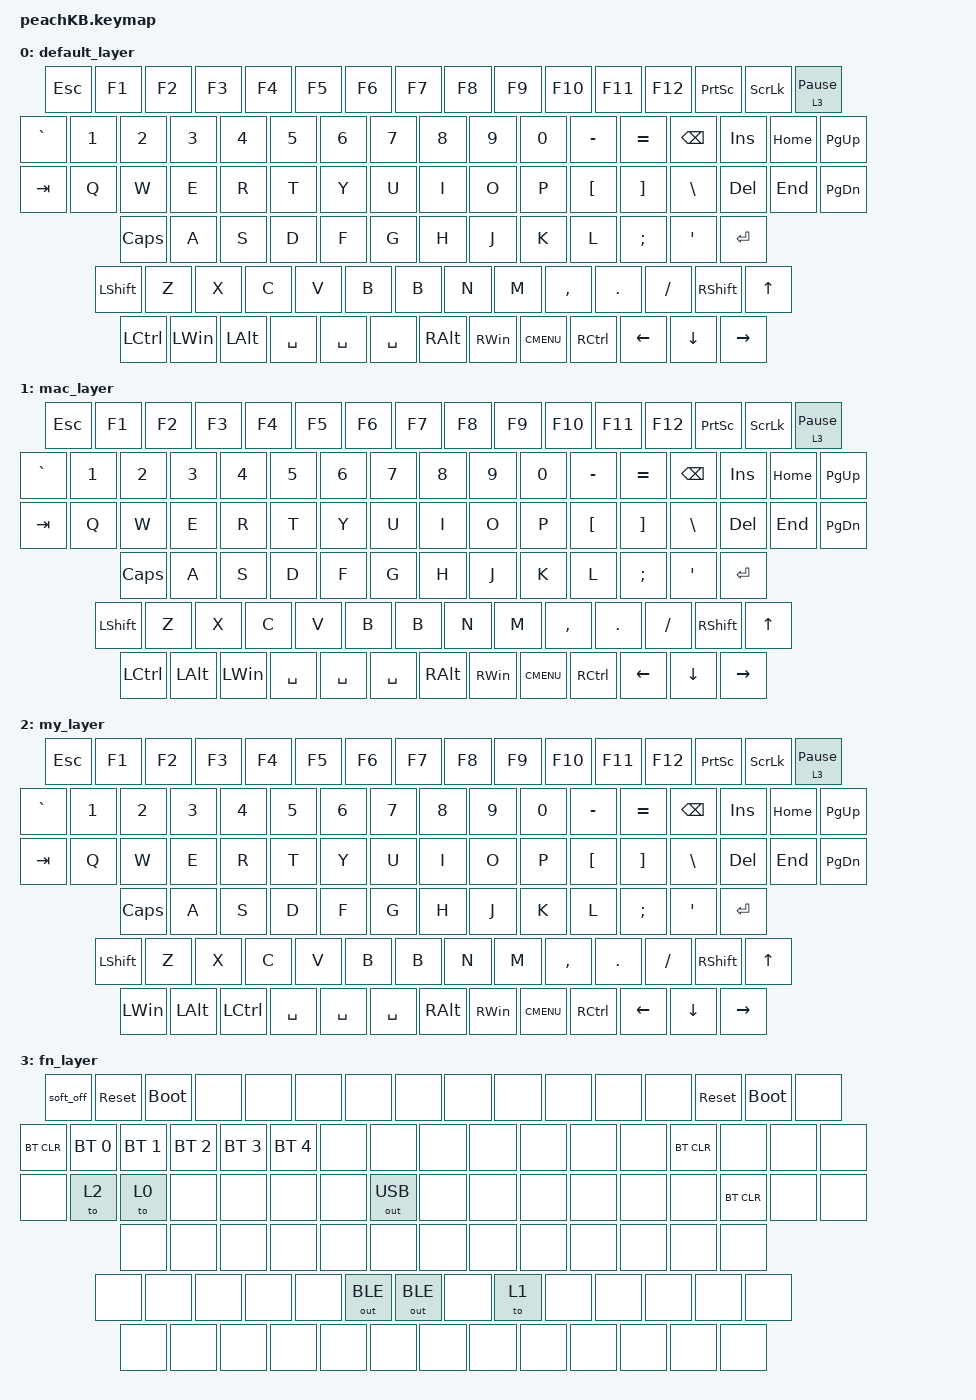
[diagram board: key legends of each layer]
#include <behaviors.dtsi>
#include <dt-bindings/zmk/keys.h>
#include <dt-bindings/zmk/bt.h>
#include <dt-bindings/zmk/outputs.h>

/ {
    keymap {
        compatible = "zmk,keymap";

        default_layer {
            bindings = <
&kp ESC          &kp F1  &kp F2  &kp F3  &kp F4      &kp F5              &kp F6  &kp F7  &kp F8      &kp F9  &kp F10  &kp F11  &kp F12   &kp PSCRN &kp SLCK &lt 3 PAUSE_BREAK

&kp GRAVE &kp N1  &kp N2  &kp N3  &kp N4  &kp N5  &kp N6              &kp N7  &kp N8  &kp N9  &kp N0  &kp MINUS  &kp EQUAL    &kp BSPC   &kp INS   &kp HOME &kp PG_UP
&kp TAB    &kp Q   &kp W   &kp E   &kp R   &kp T               &kp Y    &kp U    &kp I    &kp O    &kp P   &kp LBKT  &kp RBKT &kp BSLH   &kp DEL   &kp END  &kp PG_DN
&kp CAPS     &kp A   &kp S   &kp D   &kp F   &kp G                 &kp H   &kp J   &kp K   &kp L   &kp SEMI    &kp SQT       &kp ENTER
&kp LSHFT      &kp Z   &kp X   &kp C   &kp V   &kp B     &kp B        &kp N   &kp M   &kp COMMA  &kp DOT  &kp SLASH          &kp RSHFT             &kp UP
&kp LCTRL   &kp LWIN   &kp LALT     &kp SPACE          &kp SPACE         &kp SPACE      &kp RALT   &kp RWIN    &kp K_CMENU   &kp RCTRL   &kp LEFT  &kp DOWN &kp RIGHT
            >;
        };

        mac_layer {
            bindings = <
&kp ESC          &kp F1  &kp F2  &kp F3  &kp F4      &kp F5              &kp F6  &kp F7  &kp F8      &kp F9  &kp F10  &kp F11  &kp F12   &kp PSCRN &kp SLCK &lt 3 PAUSE_BREAK

&kp GRAVE &kp N1  &kp N2  &kp N3  &kp N4  &kp N5  &kp N6              &kp N7  &kp N8  &kp N9  &kp N0  &kp MINUS  &kp EQUAL    &kp BSPC   &kp INS   &kp HOME &kp PG_UP
&kp TAB    &kp Q   &kp W   &kp E   &kp R   &kp T               &kp Y    &kp U    &kp I    &kp O    &kp P   &kp LBKT  &kp RBKT &kp BSLH   &kp DEL   &kp END  &kp PG_DN
&kp CAPS     &kp A   &kp S   &kp D   &kp F   &kp G                 &kp H   &kp J   &kp K   &kp L   &kp SEMI    &kp SQT       &kp ENTER
&kp LSHFT      &kp Z   &kp X   &kp C   &kp V   &kp B     &kp B        &kp N   &kp M   &kp COMMA  &kp DOT  &kp SLASH          &kp RSHFT             &kp UP
&kp LCTRL   &kp LALT   &kp LWIN     &kp SPACE          &kp SPACE         &kp SPACE      &kp RALT   &kp RWIN    &kp K_CMENU   &kp RCTRL   &kp LEFT  &kp DOWN &kp RIGHT
            >;
        };

        my_layer {
            bindings = <
&kp ESC          &kp F1  &kp F2  &kp F3  &kp F4      &kp F5              &kp F6  &kp F7  &kp F8      &kp F9  &kp F10  &kp F11  &kp F12   &kp PSCRN &kp SLCK &lt 3 PAUSE_BREAK

&kp GRAVE &kp N1  &kp N2  &kp N3  &kp N4  &kp N5  &kp N6              &kp N7  &kp N8  &kp N9  &kp N0  &kp MINUS  &kp EQUAL    &kp BSPC   &kp INS   &kp HOME &kp PG_UP
&kp TAB    &kp Q   &kp W   &kp E   &kp R   &kp T               &kp Y    &kp U    &kp I    &kp O    &kp P   &kp LBKT  &kp RBKT &kp BSLH   &kp DEL   &kp END  &kp PG_DN
&kp CAPS     &kp A   &kp S   &kp D   &kp F   &kp G                 &kp H   &kp J   &kp K   &kp L   &kp SEMI    &kp SQT       &kp ENTER
&kp LSHFT      &kp Z   &kp X   &kp C   &kp V   &kp B     &kp B        &kp N   &kp M   &kp COMMA  &kp DOT  &kp SLASH          &kp RSHFT             &kp UP
&kp LWIN   &kp LALT    &kp LCTRL    &kp SPACE          &kp SPACE         &kp SPACE      &kp RALT   &kp RWIN    &kp K_CMENU   &kp RCTRL   &kp LEFT  &kp DOWN &kp RIGHT
            >;
        };

        fn_layer {
            bindings = <
&soft_off           &sys_reset   &bootloader   &none    &none             &none                             &none   &none   &none       &none   &none    &none    &none     &sys_reset &bootloader &none

&bt BT_CLR &bt BT_SEL 0 &bt BT_SEL 1 &bt BT_SEL 2 &bt BT_SEL 3 &bt BT_SEL 4 &none                        &none   &none   &none   &none   &none      &none    &bt BT_CLR     &none      &none       &none
&none          &to 2        &to 0        &none        &none        &none                         &none &out OUT_USB &none    &none    &none   &none     &none     &none     &bt BT_CLR &none       &none
&none            &none        &none        &none        &none        &none                            &none   &none   &none   &none   &none       &none           &none
&none              &none        &none        &none        &none        &out OUT_BLE     &out OUT_BLE     &none   &to 1   &none      &none    &none                &none                &none
&none          &none            &none                  &none                            &none               &none          &none      &none       &none           &none     &none      &none       &none
            >;
        };
    };
};
